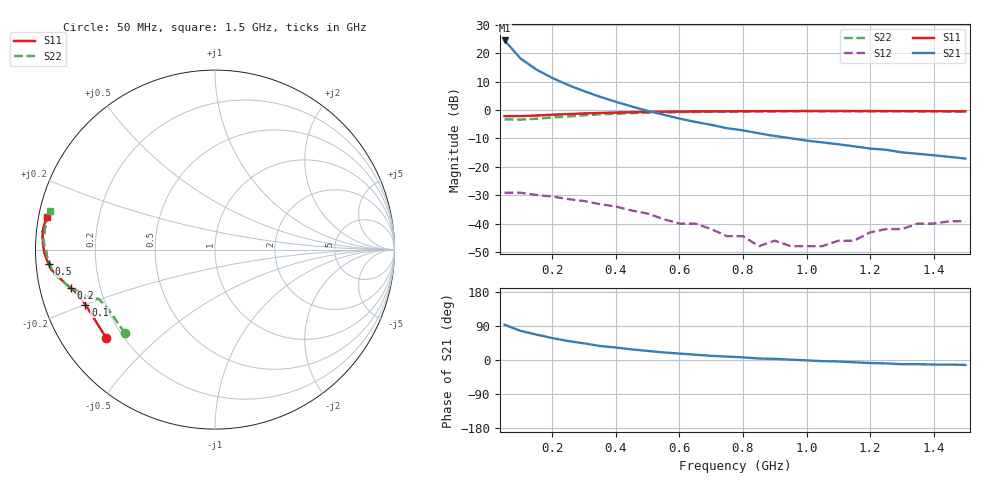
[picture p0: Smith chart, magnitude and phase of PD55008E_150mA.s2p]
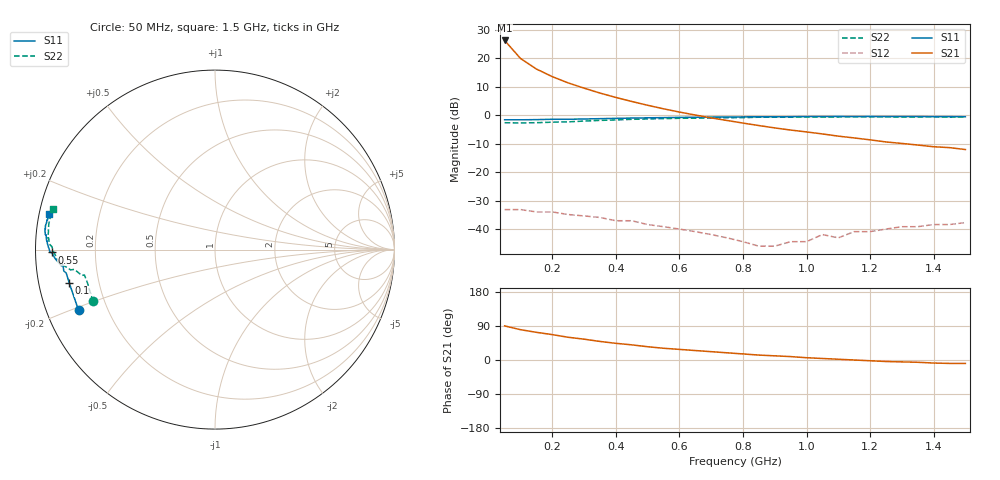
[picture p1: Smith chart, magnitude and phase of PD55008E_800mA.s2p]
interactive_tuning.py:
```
"""
Interactive Tuning
============

Setup an interactive tuner for the amplifier matching network.
"""

import rfnetwork as rfn
from pathlib import Path
import numpy as np
import matplotlib.pyplot as plt
import mpl_markers as mplm

# set matplotlib style
plt.style.use(rfn.DEFAULT_STYLE)

try:
    dir_ = Path(__file__).parent
except:
    dir_ = Path().cwd()

DATA_DIR = dir_ / "data/PD55008E_S_parameter"

# frequency range for plots
frequency = np.arange(350, 550, 5) * 1e6 
f0 = 440e6 # design frequency

def smithchart_marker(ax, fc: float, **properties):
    """ place a smith chart marker by frequency rather than x/y position """
    
    f_idx = np.argmin(np.abs(frequency - fc))
    return mplm.line_marker(
        idx=f_idx, axes=ax, xline=False, yformatter=lambda x, y, idx: f"{frequency[idx]/1e6:.0f}MHz", **properties
    )

pa_8w = rfn.Component_SnP(
    file={
        150: DATA_DIR / "PD55008E_150mA.s2p", 
        800: DATA_DIR / "PD55008E_800mA.s2p", 
        1500: DATA_DIR / "PD55008E_1500mA.s2p"
    }
)

# 50 ohm microstrip model, substrate is from the amplifier evaluation board.
ms50 = rfn.elements.MSLine(
    h=0.030, 
    er=2.55, 
    w=0.08,
    df=0.017,
)

# %%
# sphinx_gallery_thumbnail_path = '_static/img/tuning_window.png'

class pa_input(rfn.Network):
    """
    Amplifier input matching network
    """
    c1 = rfn.elements.Capacitor_pF(12, shunt=True)
    ms1 = ms50(1.1)
    c2 = rfn.elements.Capacitor_pF(40, shunt=True)
    ms2 = ms50(0.4)
    r1 = rfn.elements.Resistor(2)

    # Port 2 will connect to port 1 of the amplifer
    cascades = [
        ("P1", c1, ms1, c2, ms2, r1, "P2"),
    ]

    probes=True

class pa_output(rfn.Network):
    """
    PA output matching network
    """
    ms3 = ms50(0.4)
    c3 = rfn.elements.Capacitor_pF(65, shunt=True)
    ms4 = ms50(1.1)
    c4 = rfn.elements.Capacitor_pF(15, shunt=True)

    # Port 1 will connect to the amplifier output
    cascades = [
        ("P1", ms3, c3, ms4, c4, "P2"),
    ]
    
    # individual probes can be assigned here, but setting to True
    # creates a probe at every internal node of the network.
    probes=True


class pa_match(rfn.Network):
    """
    Matched amplifier circuit
    """
    m_in = pa_input()
    u1 = pa_8w(file=150)
    m_out = pa_output()

    cascades = [
        ("P1", m_in, u1, m_out, "P2"),
    ]

    probes=True

n = pa_match()

fig, axes = plt.subplot_mosaic(
    [["s11", "s22"], ["im", "im"]], figsize=(10, 7), height_ratios=[1, 0.3]
)

rfn.plots.draw_smithchart(axes["s11"])
rfn.plots.draw_smithchart(axes["s22"])

# use tune=True to link this plot with a tuner
lines1 = n.plot_probe(
    ("u1|1", "m_in|2"),
    ("m_in.r1|1", "m_in.ms2|2"),
    ("m_in.ms2|1", "m_in.c2|2"),
    ("m_in.c2|1", "m_in.ms1|2"),
    ("m_in.ms1|1", "m_in.c1|2"),
    input_port=1, fmt="smith", tune=True, axes=axes["s11"], frequency=frequency
)


ln_s11 = n.plot(11, fmt="smith", tune=True, axes=axes["s11"], frequency=frequency)

smithchart_marker(axes["s11"], f0, lines=lines1, ylabel=False)
smithchart_marker(axes["s11"], f0, lines=ln_s11)

lines2 = n.plot_probe(
    ("u1|2", "m_out|1"),
    ("m_out.ms3|2", "m_out.c3|1"),
    ("m_out.c3|2", "m_out.ms4|1"),
    ("m_out.ms4|2", "m_out.c4|1"),
    input_port=2, fmt="smith", tune=True, axes=axes["s22"], frequency=frequency
)

ln_s22 = n.plot(22, fmt="smith", tune=True, axes=axes["s22"], frequency=frequency) 

smithchart_marker(axes["s22"], f0, lines=lines2, ylabel=False)
smithchart_marker(axes["s22"], f0, lines=ln_s22)

im = plt.imread(dir_ / "data/img/pa_tuning.png")
axes["im"].imshow(im)
axes["im"].set_axis_off()


fig.tight_layout()

# %%
# Setup the tuner
# ---------------
#

tuners = [
    dict(component="m_in.c1", variable="value", label="C1 [pF]"),
    dict(component="m_in.ms1", variable="length", label="MS1 [in]"),
    dict(component="m_in.c2", variable="value", label="C2 [pF]"),
    dict(component="m_in.ms2", variable="length", label="MS2 [in]"),
    dict(component="m_in.r1", variable="value", label="R1 [ohms]"),
    dict(component="m_out.ms3", variable="length", label="MS3 [in]"),
    dict(component="m_out.c4", variable="value", label="C3 [pF]"),
    dict(component="m_out.ms4", variable="length", label="MS2 [in]"),
    dict(component="m_out.c4", variable="value", lower=5, upper=30, label="C4 [pF]"),
]
# start the tuner (this is disabled for the readthedocs runner)
# n.tune(tuners)

# %%
# .. image:: ../_static/img/tuning_window.png
#

plt.show()
```
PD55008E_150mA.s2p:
! freq mag(S11) phase(S11) mag(S12) phase(S12)
!  mag(S21) phase(S21) mag(S22) phase(S22)
! Vdd= 12.5 V, Idq = 150mA
!s-parameter data
#  MHz  S  MA  R 50
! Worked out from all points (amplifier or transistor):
!   30 points, 50 MHz to 1.5 GHz, reference 50 ohm
!   highest |S21| = 24.6 dB at 50 MHz (marker M1)
!   |S21| within 3 dB of that: start of sweep to 73.66 MHz
!   unconditionally stable (mu >= 1): 733.3 MHz to end of sweep
!   at 300 MHz: K = 0.12, MSG = 19.4 dB, |S12| = -32.0 dB
!   at 800 MHz: K = 1.09, MAG = 16.8 dB, |S12| = -44.4 dB
!   at 1.5 GHz: K = 3.27, MAG = 3.0 dB, |S12| = -39.2 dB
!   S11 on the Smith chart (normalised r, x): 50 MHz: 0.14, -0.35; 100 MHz: 0.13, -0.20; 200 MHz: 0.09, -0.13; 500 MHz: 0.04, -0.04; 1.5 GHz: 0.02, +0.10
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50  0.781 -141.0  16.89 93.0  0.035 4.0  0.685 -137.0
100  0.784 -157.0  8.14 77.0  0.035 -11.0  0.681 -151.0
150  0.803 -162.0  5.19 67.0  0.032 -18.0  0.704 -157.0
200  0.83 -165.0  3.69 58.0  0.03 -26.0  0.743 -159.0
250  0.852 -167.0  2.77 50.0  0.027 -34.0  0.773 -161.0
350  0.892 -171.0  1.72 37.0  0.022 -43.0  0.844 -166.0
500  0.928 -175.0  0.97 24.0  0.015 -51.0  0.903 -171.0
800  0.957 179.0  0.44 7.0  0.006 -40.0  0.94 -180.0
850  0.959 178.0  0.39 4.0  0.004 -30.0  0.95 179.0
1050  0.964 175.0  0.27 -3.0  0.004 43.0  0.953 175.0
1500  0.952 169.0  0.14 -13.0  0.011 76.0  0.944 167.0
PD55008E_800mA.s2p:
! freq mag(S11) phase(S11) mag(S12) phase(S12)
!  mag(S21) phase(S21) mag(S22) phase(S22)
! Vdd= 12.5 V, Idq = 800mA
!s-parameter data
#  MHz  S  MA  R 50
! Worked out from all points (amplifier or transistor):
!   30 points, 50 MHz to 1.5 GHz, reference 50 ohm
!   highest |S21| = 26.3 dB at 50 MHz (marker M1)
!   |S21| within 3 dB of that: start of sweep to 73.7 MHz
!   unconditionally stable (mu >= 1): 696.4 MHz to end of sweep
!   at 300 MHz: K = 0.33, MSG = 22.5 dB, |S12| = -35.4 dB
!   at 800 MHz: K = 1.63, MAG = 16.2 dB, |S12| = -44.4 dB
!   at 1.5 GHz: K = 2.08, MAG = 6.9 dB, |S12| = -37.7 dB
!   S11 on the Smith chart (normalised r, x): 50 MHz: 0.10, -0.21; 100 MHz: 0.09, -0.11; 550 MHz: 0.05, -0.01; 1.5 GHz: 0.03, +0.11
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50  0.832 -156.0  20.68 90.0  0.022 3.0  0.74 -157.0
100  0.833 -167.0  9.98 80.0  0.022 -6.0  0.734 -165.0
150  0.839 -171.0  6.51 73.0  0.02 -11.0  0.741 -169.0
200  0.851 -172.0  4.78 67.0  0.02 -16.0  0.756 -169.0
250  0.851 -174.0  3.71 60.0  0.018 -20.0  0.767 -170.0
350  0.872 -175.0  2.46 49.0  0.016 -23.0  0.813 -172.0
400  0.883 -176.0  2.06 44.0  0.014 -26.0  0.828 -173.0
550  0.91 -179.0  1.3 31.0  0.011 -27.0  0.874 -176.0
800  0.937 177.0  0.73 16.0  0.006 -3.0  0.908 179.0
900  0.942 176.0  0.6 11.0  0.005 17.0  0.926 177.0
1500  0.944 168.0  0.25 -9.0  0.013 67.0  0.933 166.0
